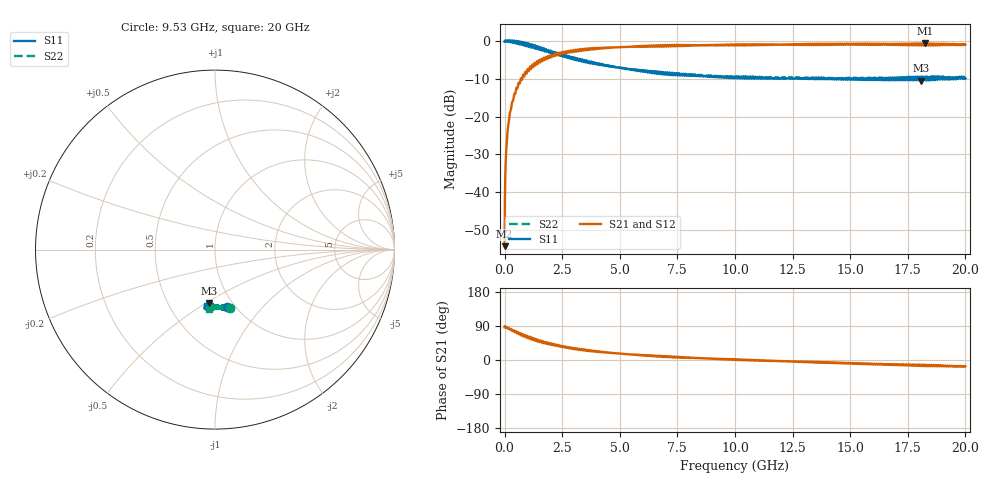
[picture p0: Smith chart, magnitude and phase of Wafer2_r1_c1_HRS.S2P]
!  2-Port S-parameters saved by WinCal
! VAR MeasName=S-Parameters (CALIBRATED_DATA) read from VNA (P5004A)
! VAR MeasDate=24/04/2024 17:10:01
! VAR NAME=Wafer2_r1_c1_HRS
! VAR FILENAME=Wafer2_r1_c1_HRS.S2P
! VAR DATE=24/04/2024 17:10:01
! VAR PHYS_PORTS=1,2
! VAR ObjTypeName=DATASET
! VAR IndexType=Frequency
# Hz S MA R 50
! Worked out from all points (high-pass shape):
!   4999 points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, 4.01 MHz to 20 GHz, reference 50 ohm
!   highest |S21| = -0.61 dB at 18.24 GHz (marker M1); lowest = -54.3 dB at 4.01 MHz (marker M2)
!   |S21| within 3 dB of the highest: 2.254 GHz to 2.319 GHz (64.31 MHz wide, 2.81 % of centre); 2.341 GHz to end of sweep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
!   lowest |S11| = -10.5 dB at 18.09 GHz (marker M3), VSWR 1.86, Z = 39.3 - j25.7 ohm
!   |S11| at or under -10 dB: 14.8659 GHz to 14.92817 GHz (62.27 MHz wide, 0.418 % of centre); 15.26702 GHz to 15.32775 GHz (60.72 MHz wide, 0.397 % of centre); 15.36628 GHz to 15.42904 GHz (62.76 MHz wide, 0.408 % of centre)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
!   |S22| runs from -10.2 to 0.1 dB; largest |S21 - S12| = 0.015
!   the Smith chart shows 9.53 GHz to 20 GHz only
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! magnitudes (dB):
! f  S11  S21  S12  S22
! 4.01 MHz  -0.1  -54.3  -54.3  -0.1
! 40.02 MHz  0.1  -34.2  -34.2  0.1
! 112 MHz  0.0  -25.6  -25.5  0.0
! 140 MHz  0.1  -23.4  -23.5  0.1
! 180 MHz  -0.2  -21.7  -21.7  -0.2
! 248.1 MHz  -0.1  -18.7  -18.8  -0.1
! 348.1 MHz  -0.2  -16.0  -16.1  -0.2
! 464.1 MHz  -0.6  -14.0  -14.0  -0.6
! 624.1 MHz  -0.2  -11.0  -11.0  -0.2
! 824.2 MHz  -0.5  -9.0  -9.0  -0.5
! 1.04 GHz  -1.4  -8.0  -7.9  -1.4
! 1.56 GHz  -2.2  -5.4  -5.5  -2.3
! 2.348 GHz  -3.6  -3.5  -3.5  -3.6
! 3.341 GHz  -5.2  -2.5  -2.5  -5.2
! 4.797 GHz  -6.9  -1.6  -1.7  -6.8
! 6.673 GHz  -8.1  -1.1  -1.1  -8.2
! 10 GHz  -9.7  -1.1  -1.2  -9.6
! 13.33 GHz  -9.9  -1.0  -1.0  -9.8
! 16.67 GHz  -10.3  -0.9  -0.9  -9.8
! 18.09 GHz  -10.5  -1.2  -1.2  -10.0
! 18.24 GHz  -9.5  -0.6  -0.6  -9.6
! 20 GHz  -9.9  -1.0  -1.0  -9.6
